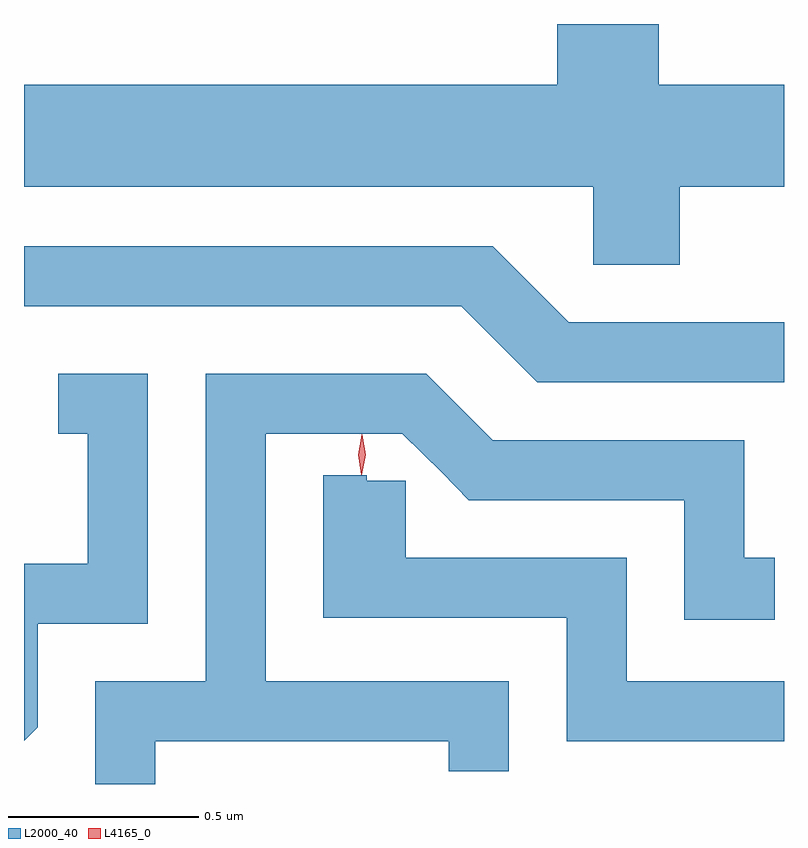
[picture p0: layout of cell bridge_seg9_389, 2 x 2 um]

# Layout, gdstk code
import gdstk
lib = gdstk.Library(unit=1e-6, precision=1e-09)
def P(c, l, *ps):  # polygons
    for p in ps: c.add(gdstk.Polygon(p, *l))
L2000_40 = (2000, 40)
L4165_0 = (4165, 0)

bridge_seg9_389 = lib.new_cell('bridge_seg9_389')
P(bridge_seg9_389, L2000_40, [(974.639,1991.816),(974.913,1991.816),(974.913,1992.084),(974.584,1992.084),(974.584,1992.244),(974.316,1992.244),(974.316,1992.084),(972.913,1992.084),(972.913,1991.816),(974.411,1991.816),(974.411,1991.611),(974.639,1991.611)],
  [(974.913,1991.459),(974.347,1991.459),(974.147,1991.659),(972.913,1991.659),(972.913,1991.501),(974.064,1991.501),(974.264,1991.301),(974.913,1991.301)],
  [(973.259,1990.356),(974.031,1990.356),(974.031,1990.278),(974.189,1990.278),(974.189,1990.514),(973.549,1990.514),(973.549,1991.166),(973.909,1991.166),(974.013,1991.063),(974.084,1990.991),(974.651,1990.991),(974.651,1990.676),(974.888,1990.676),(974.888,1990.839),(974.809,1990.839),(974.809,1991.149),(974.147,1991.149),(973.972,1991.324),(973.391,1991.324),(973.391,1990.514),(973.101,1990.514),(973.101,1990.244),(973.259,1990.244)],
  [(972.949,1990.394),(972.949,1990.666),(973.239,1990.666),(973.239,1991.324),(973.003,1991.324),(973.003,1991.166),(973.081,1991.166),(973.081,1990.824),(972.913,1990.824),(972.913,1990.358)],
  [(974.913,1990.514),(974.499,1990.514),(974.499,1990.839),(973.918,1990.839),(973.918,1991.042),(973.815,1991.042),(973.815,1991.056),(973.701,1991.056),(973.701,1990.681),(974.341,1990.681),(974.341,1990.356),(974.913,1990.356)])
P(bridge_seg9_389, L4165_0, [(973.801,1991.058),(973.792,1991.11),(973.802,1991.163),(973.802,1991.164),(973.803,1991.163),(973.812,1991.11),(973.802,1991.058),(973.802,1991.058)],
  [(973.801,1991.06),(973.792,1991.11),(973.802,1991.16),(973.802,1991.161),(973.803,1991.16),(973.812,1991.11),(973.802,1991.06),(973.802,1991.06)])

lib.write_gds('bridge_seg9_389.gds')
